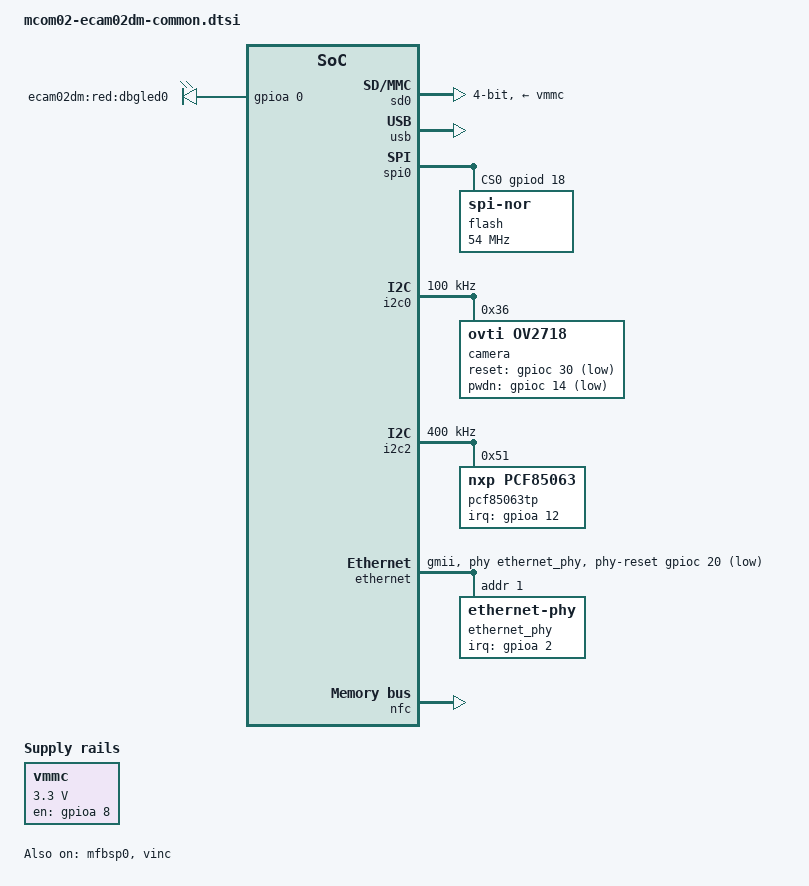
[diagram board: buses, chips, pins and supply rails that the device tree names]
// SPDX-License-Identifier: GPL-2.0+
/*
 * Copyright 2020 RnD Center "ELVEES", JSC
 */

/dts-v1/;

#include <dt-bindings/gpio/gpio.h>

#include "mcom02.dtsi"

/ {
	chosen {
		bootargs = "console=ttyS0,115200";
	};

	aliases {
		spi0 = &spi0;
	};

	leds {
		compatible = "gpio-leds";

		dbgled@0 {
			label = "ecam02dm:red:dbgled0";
			gpios = <&gpioa 0 GPIO_ACTIVE_HIGH>;
		};
	};

	vmmc: vmmc {
		compatible = "regulator-fixed";
		regulator-name = "vmmc";
		regulator-min-microvolt = <3300000>;
		regulator-max-microvolt = <3300000>;
		gpio = <&gpioa 8 GPIO_ACTIVE_HIGH>;
		enable-active-high;
	};
};

&sd0 {
	status = "okay";
	bus-width = <4>;
	vmmc-supply = <&vmmc>;
};

&usb {
	status = "okay";
};

&mfbsp0 {
	status = "okay";
};

&spi0 {
	status = "okay";
	num-cs = <1>;
	/* Third argument of "cs-gpios" property is set to 0,
	 * because it is ignored by the SPI driver. */
	cs-gpios = <&gpiod 18 0>;

	flash: flash@0 {
		#address-cells = <1>;
		#size-cells = <1>;
		compatible = "jedec,spi-nor", "spi-flash";
		reg = <0>;
		/* TODO: SPI flash can work at higher frequency (133MHz). */
		spi-max-frequency = <54000000>;
		m25p,fast-read;
		u-boot,dm-pre-reloc;
	};
};

&i2c0 {
	status = "okay";
	clock-frequency = <100000>;

	camera@36 {
		compatible = "ovti,ov2718";
		reg = <0x36>;
		reset-gpios = <&gpioc 30 GPIO_ACTIVE_LOW>;
		pwdn-gpios = <&gpioc 14 GPIO_ACTIVE_LOW>;
		port {
			ov2718_endpoint: endpoint {
				remote = <&vinc_endpoint0>;
			};
		};
	};
};

&i2c2 {
	status = "okay";
	clock-frequency = <400000>;

	pcf85063tp: rtc@51 {
		compatible = "nxp,pcf85063";
		reg = <0x51>;
		interrupt-parent = <&gpioa>;
		interrupts = <12 IRQ_TYPE_LEVEL_LOW>;
	};
};

&ethernet {
	status = "okay";
	#address-cells = <1>;
	#size-cells = <0>;
	phy-mode = "gmii";
	phy-handle = <&ethernet_phy>;
	phy-reset-gpios = <&gpioc 20 GPIO_ACTIVE_LOW>;
	txclk-125en-gpios = <&gpioa 3 GPIO_ACTIVE_HIGH>;

	ethernet_phy: ethernet-phy@1 {
		reg = <0x1>;
		interrupt-parent = <&gpioa>;
		interrupts = <2 IRQ_TYPE_LEVEL_LOW>;
	};
};

&vinc {
	status = "okay";
	ports {
		#address-cells = <1>;
		#size-cells = <0>;

		port@0 {
			#address-cells = <1>;
			#size-cells = <0>;
			reg = <0x0>;

			vinc_endpoint0: endpoint@0 {
				reg = <0x0>;
				remote-endpoint = <&ov2718_endpoint>;
				elvees,ifacenum = /bits/ 8 <2>;
			};
		};
	};
};

&gpioc {
	/* Pins to control DDR power enable. */
	skip-gpio-list = <24 25>;
};

&nfc {
	status = "okay";
};

&sdma {
	memcpy-max-burst-length = <1>;
};

&linux_cma {
	status = "disabled";
};
